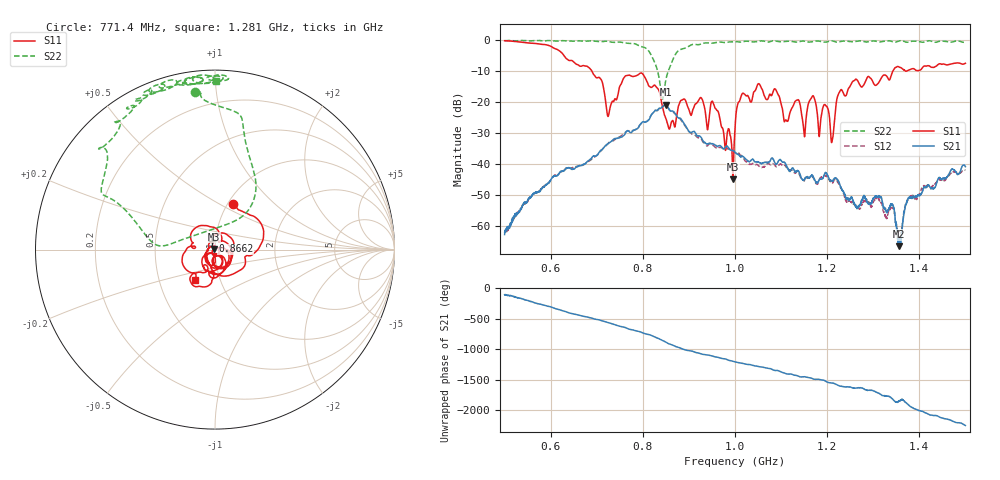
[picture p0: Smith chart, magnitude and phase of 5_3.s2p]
!Agilent Technologies,E8364B,US42250235,A.06.04.32
!Agilent E8364B: A.06.04.32
!Date: Thursday, October 01, 2020 11:09:24
!Correction: S11(Full 2 Port(1,2)) S21(Full 2 Port(1,2)) S12(Full 2 Port(1,2)) S22(Full 2 Port(1,2))
!S2P File: Measurements: S11, S21, S12, S22:
# Hz S  dB  R 50
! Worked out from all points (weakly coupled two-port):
!   2650 points, 500 MHz to 1.5 GHz, reference 50 ohm
!   highest |S21| = -20.84 dB at 849.2 MHz (marker M1); lowest = -66.6 dB at 1.355 GHz (marker M2)
!   lowest |S11| = -45.0 dB at 995.3 MHz (marker M3), VSWR 1.01, Z = 49.5 + j0.334 ohm
!   |S11| at or under -10 dB: 689.4 MHz to 1.343 GHz (653.2 MHz wide, 64.3 % of centre); 1.369696 GHz to 1.372189 GHz (2.493 MHz wide, 0.182 % of centre)
!   |S22| runs from -19.0 to -0.1 dB; largest |S21 - S12| = 0.0041
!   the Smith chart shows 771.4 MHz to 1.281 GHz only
!   S11 on the Smith chart (normalised r, x): 771.4 MHz: 1.07, +0.58; 866.2 MHz: 0.97, +0.09; 1.281 GHz: 0.76, -0.27
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5e8  -0.18 -175.4  -62.85 -104.0  -62.39 -102.8  -0.18 136.3
5.970177e8  -1.77 120.4  -45.94 61.4  -45.74 67.0  -0.13 128.6
6.668554e8  -8.42 82.0  -40.54 -91.5  -40.56 -89.1  -0.29 121.0
7.249906e8  -24.57 67.3  -33.43 157.2  -33.37 161.9  -0.42 113.0
7.714232e8  -11.34 67.9  -29.72 46.9  -29.47 48.3  -1.07 97.2
8.337108e8  -15.92 -67.0  -22.24 -102.3  -22.47 -103.3  -11.05 49.7
8.491884e8  -25.10 -149.5  -20.84 -160.1  -20.91 -159.9  -13.42 167.6
8.661759e8  -26.36 107.0  -23.03 141.9  -23.33 143.2  -5.93 158.3
9.518686e8  -20.03 -99.4  -33.50 -34.3  -33.93 -33.4  -0.97 123.1
9.952812e8  -44.96 143.4  -35.72 -116.6  -35.64 -114.6  -0.51 116.9
1.000189e9  -28.09 15.5  -36.29 -128.0  -36.45 -123.0  -0.48 117.8
1.011891e9  -18.72 -56.9  -37.63 -145.6  -37.18 -146.2  -0.63 115.6
1.050774e9  -14.10 -149.3  -39.33 156.0  -40.60 157.3  -0.34 107.2
1.149679e9  -29.96 -93.3  -45.14 -12.6  -45.32 -10.5  -0.29 99.1
1.166667e9  -18.46 -94.1  -43.57 -38.2  -44.03 -36.9  -0.53 94.5
1.210834e9  -32.42 -84.3  -45.56 -115.1  -46.22 -119.0  -0.23 95.9
1.227067e9  -16.72 -81.7  -46.57 -162.0  -47.03 -163.9  -0.53 88.3
1.281427e9  -13.92 -122.9  -50.46 140.9  -52.14 140.9  -0.55 89.6
1.333522e9  -12.76 -149.1  -54.63 26.1  -55.08 27.7  -0.20 83.2
1.355417e9  -8.65 -163.6  -66.63 -59.4  -65.47 -67.2  -0.30 76.4
1.377312e9  -9.64 -172.4  -50.93 -120.3  -51.56 -122.8  -0.60 75.4
1.5e9  -7.48 141.1  -40.91 -92.2  -42.11 -100.2  -0.61 61.5
